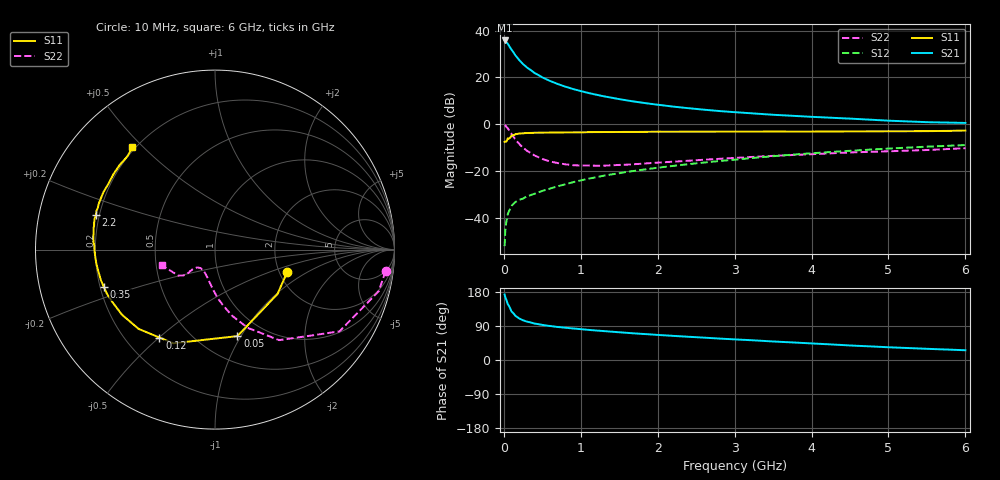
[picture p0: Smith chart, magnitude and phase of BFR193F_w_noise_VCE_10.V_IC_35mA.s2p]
! Infineon Technologies  Discrete & RF Semiconductors
! BFR193F
! VCE =  10. V,  IC =  35 mA
! Common Emitter S-Parameters:  Jan 2017
# GHz  S  MA  R  50
!  f  S11  S21  S12  S22
! GHz  MAG  ANG  MAG  ANG  MAG  ANG  MAG  ANG
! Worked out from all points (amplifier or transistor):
!   77 points, 10 MHz to 6 GHz, reference 50 ohm
!   highest |S21| = 35.8 dB at 10 MHz (marker M1)
!   |S21| within 3 dB of that: start of sweep to 81.51 MHz
!   unconditionally stable (mu >= 1): 1.124 GHz to 2.653 GHz
!   at 130 MHz: K = 0.38, MSG = 32.1 dB, |S12| = -33.8 dB
!   at 2.2 GHz: K = 1.02, MAG = 11.8 dB, |S12| = -17.8 dB
!   at 6 GHz: K = 0.85, MSG = 4.7 dB, |S12| = -8.9 dB
!   lowest NFmin = 1.26 dB at 450 MHz
!   S11 on the Smith chart (normalised r, x): 10 MHz: 2.22, -0.66; 50 MHz: 0.75, -0.97; 120 MHz: 0.34, -0.50; 350 MHz: 0.22, -0.16; 2.2 GHz: 0.19, +0.14; 6 GHz: 0.19, +0.46
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0.01  0.4215 -16.9  61.5 172.6  0.0025 87.5  0.9587 -7.2
0.02  0.4272 -35.3  59.78 165.6  0.0058 75.9  0.9408 -14.3
0.05  0.4979 -75.5  52.69 147.9  0.0119 65.5  0.8299 -33.3
0.1  0.5713 -114.0  39.21 127.9  0.0181 53.7  0.6181 -54.7
0.12  0.5795 -122.3  35.23 124.2  0.0196 51.9  0.5568 -58.9
0.15  0.6134 -133.9  29.63 116.7  0.0219 49.7  0.4724 -67.3
0.2  0.6328 -145.0  23.45 109.5  0.0243 48.5  0.381 -75.5
0.25  0.6419 -152.8  19.22 104.7  0.026 49.9  0.3147 -81.7
0.3  0.6504 -157.8  16.31 101.2  0.0288 52.6  0.2727 -86.6
0.35  0.653 -161.4  14.35 99.0  0.0308 54.0  0.2433 -89.9
0.4  0.6582 -164.9  12.42 96.1  0.0329 55.3  0.215 -94.1
0.5  0.6612 -169.5  10.03 92.6  0.0378 58.8  0.1815 -100.1
0.6  0.6652 -172.9  8.413 89.7  0.0424 61.5  0.1607 -105.3
0.8  0.6696 -178.1  6.342 85.2  0.0523 65.2  0.1396 -114.2
1.1  0.6782 176.5  4.653 79.5  0.0688 68.8  0.1314 -123.7
1.5  0.6846 171.1  3.443 73.2  0.0901 70.9  0.1356 -132.2
2.1  0.6918 164.7  2.497 65.0  0.1235 72.0  0.1553 -137.7
2.2  0.691 163.7  2.383 63.7  0.1292 71.9  0.1589 -138.0
3.1  0.6969 156.0  1.767 53.4  0.1818 71.2  0.1954 -138.9
4.1  0.6988 147.3  1.417 42.7  0.2465 68.1  0.2335 -141.7
5.1  0.7102 137.4  1.176 32.8  0.3085 63.0  0.2683 -152.5
6  0.7324 128.9  1.068 25.7  0.3595 58.0  0.309 -163.7
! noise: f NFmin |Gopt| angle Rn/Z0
0.45  1.26  0.42  178  0.06
0.9  1.35  0.44  178  0.07
1.9  1.9  0.58  -166  0.08
2.4  2.2  0.61  -157  0.12
